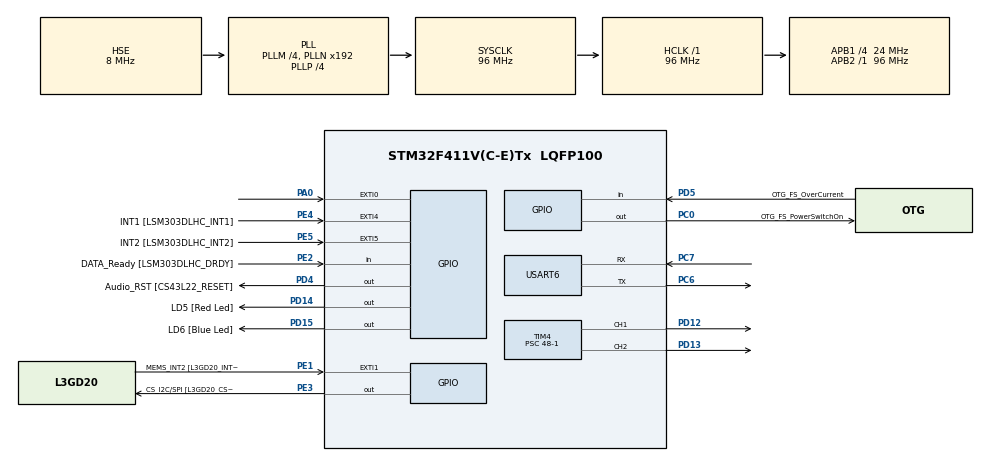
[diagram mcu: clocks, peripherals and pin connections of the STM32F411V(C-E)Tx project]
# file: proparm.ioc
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Dma.Request0=USART6_RX
Dma.USART6_RX.0.Direction=DMA_PERIPH_TO_MEMORY
Dma.USART6_RX.0.FIFOMode=DMA_FIFOMODE_DISABLE
Dma.USART6_RX.0.Instance=DMA2_Stream1
Dma.USART6_RX.0.MemDataAlignment=DMA_MDATAALIGN_BYTE
Dma.USART6_RX.0.MemInc=DMA_MINC_ENABLE
Dma.USART6_RX.0.Mode=DMA_CIRCULAR
Dma.USART6_RX.0.PeriphDataAlignment=DMA_PDATAALIGN_BYTE
Dma.USART6_RX.0.PeriphInc=DMA_PINC_DISABLE
Dma.USART6_RX.0.Priority=DMA_PRIORITY_LOW
Mcu.Family=STM32F4
Mcu.Name=STM32F411V(C-E)Tx
Mcu.Package=LQFP100
NVIC.DMA2_Stream1_IRQn=true\:0\:0\:false\:false\:true\:false\:true\:true
NVIC.PriorityGroup=NVIC_PRIORITYGROUP_0
NVIC.TIM2_IRQn=true\:0\:0\:false\:false\:true\:true\:true\:true
NVIC.USART6_IRQn=true\:0\:0\:false\:false\:true\:true\:true\:true
PA0-WKUP.GPIO_ModeDefaultEXTI=GPIO_MODE_EVT_RISING
PA0-WKUP.Signal=GPXTI0
PA10.GPIO_Label=OTG_FS_ID
PA10.Signal=USB_OTG_FS_ID
PA11.GPIO_Label=OTG_FS_DM
PA11.Signal=USB_OTG_FS_DM
PA12.GPIO_Label=OTG_FS_DP
PA12.Signal=USB_OTG_FS_DP
PA13.GPIO_Label=SWDIO
PA13.Mode=Serial_Wire
PA13.Signal=SYS_JTMS-SWDIO
PA14.GPIO_Label=SWCLK
PA14.Mode=Serial_Wire
PA14.Signal=SYS_JTCK-SWCLK
PA4.GPIO_Label=I2S3_WS [CS43L22_LRCK]
PA4.GPIO_Mode=GPIO_MODE_AF_PP
PA4.GPIO_PuPd=GPIO_NOPULL
PA4.GPIO_Speed=GPIO_SPEED_FREQ_LOW
PA4.Signal=I2S3_WS
PA5.GPIO_Label=SPI1_SCK [L3GD20_SC/SPC]
PA5.Signal=SPI1_SCK
PA6.GPIO_Label=SPI1_MISO [L3GD20_AS0/SDO]
PA6.Signal=SPI1_MISO
PA7.GPIO_Label=SPI1_MOSI [L3GD20_SDA/SDI/SDO]
PA7.Signal=SPI1_MOSI
PA9.GPIO_Label=VBUS_FS
PA9.Signal=USB_OTG_FS_VBUS
PB10.GPIO_Label=CLK_IN [MP45DT02_CLK]
PB10.Signal=I2S2_CK
PB12.Signal=I2S2_WS
PB3.GPIO_Label=SWO
PB3.Signal=SYS_JTDO-SWO
PB6.GPIO_Label=Audio_SCL [CS43L22_SCL]
PB6.GPIO_Mode=GPIO_MODE_AF_OD
PB6.GPIO_Pu=GPIO_PULLUP
PB6.GPIO_PuPd=GPIO_NOPULL
PB6.GPIO_Speed=GPIO_SPEED_FREQ_LOW
PB6.Signal=I2C1_SCL
PB9.GPIO_Label=Audio_SDA [CS43L22_SDA]
PB9.GPIO_Mode=GPIO_MODE_AF_OD
PB9.GPIO_Pu=GPIO_PULLUP
PB9.GPIO_PuPd=GPIO_NOPULL
PB9.GPIO_Speed=GPIO_SPEED_FREQ_LOW
PB9.Signal=I2C1_SDA
PC0.GPIO_Label=OTG_FS_PowerSwitchOn
PC0.PinState=GPIO_PIN_SET
PC0.Signal=GPIO_Output
PC10.GPIO_Label=I2S3_SCK [CS43L22_SCLK]
PC10.GPIO_Mode=GPIO_MODE_AF_PP
PC10.GPIO_PuPd=GPIO_NOPULL
PC10.GPIO_Speed=GPIO_SPEED_FREQ_LOW
PC10.Signal=I2S3_CK
PC12.GPIO_Label=I2S3_SD [CS43L22_SDIN]
PC12.GPIO_Mode=GPIO_MODE_AF_PP
PC12.GPIO_PuPd=GPIO_NOPULL
PC12.GPIO_Speed=GPIO_SPEED_FREQ_LOW
PC12.Signal=I2S3_SD
PC14-OSC32_IN.GPIO_Label=PC14-OSC32_IN
PC14-OSC32_IN.Mode=LSE-External-Oscillator
PC14-OSC32_IN.Signal=RCC_OSC32_IN
PC15-OSC32_OUT.GPIO_Label=PC15-OSC32_OUT
PC15-OSC32_OUT.Mode=LSE-External-Oscillator
PC15-OSC32_OUT.Signal=RCC_OSC32_OUT
PC3.GPIO_Label=PDM_OUT [MP45DT02_DOUT]
PC3.Signal=I2S2_SD
PC6.Mode=Asynchronous
PC6.Signal=USART6_TX
PC7.Mode=Asynchronous
PC7.Signal=USART6_RX
PD12.Signal=S_TIM4_CH1
PD13.Signal=S_TIM4_CH2
PD14.GPIO_Label=LD5 [Red Led]
PD14.GPIO_PuPd=GPIO_NOPULL
PD14.GPIO_Speed=GPIO_SPEED_FREQ_LOW
PD14.Signal=GPIO_Output
PD15.GPIO_Label=LD6 [Blue Led]
PD15.GPIO_PuPd=GPIO_NOPULL
PD15.GPIO_Speed=GPIO_SPEED_FREQ_LOW
PD15.Signal=GPIO_Output
PD4.GPIO_Label=Audio_RST [CS43L22_RESET]
PD4.Signal=GPIO_Output
PD5.GPIO_Label=OTG_FS_OverCurrent
PD5.Signal=GPIO_Input
PE1.GPIO_Label=MEMS_INT2 [L3GD20_INT2]
PE1.GPIO_ModeDefaultEXTI=GPIO_MODE_EVT_RISING
PE1.Signal=GPXTI1
PE2.GPIO_Label=DATA_Ready [LSM303DLHC_DRDY]
PE2.Signal=GPIO_Input
PE3.GPIO_Label=CS_I2C/SPI [L3GD20_CS_I2C/SPI]
PE3.Signal=GPIO_Output
PE4.GPIO_Label=INT1 [LSM303DLHC_INT1]
PE4.GPIO_ModeDefaultEXTI=GPIO_MODE_EVT_RISING
PE4.Signal=GPXTI4
PE5.GPIO_Label=INT2 [LSM303DLHC_INT2]
PE5.GPIO_ModeDefaultEXTI=GPIO_MODE_EVT_RISING
PE5.Signal=GPXTI5
PH0\ -\ OSC_IN.GPIO_Label=PH0-OSC_IN
PH0\ -\ OSC_IN.Mode=HSE-External-Oscillator
PH0\ -\ OSC_IN.Signal=RCC_OSC_IN
PH1\ -\ OSC_OUT.GPIO_Label=PH1-OSC_OUT
PH1\ -\ OSC_OUT.Mode=HSE-External-Oscillator
PH1\ -\ OSC_OUT.Signal=RCC_OSC_OUT
ProjectManager.HeapSize=0x200
ProjectManager.StackSize=0x400
ProjectManager.TargetToolchain=STM32CubeIDE
RCC.48MHZClocksFreq_Value=48000000
RCC.AHBFreq_Value=96000000
RCC.APB1CLKDivider=RCC_HCLK_DIV4
RCC.APB1Freq_Value=24000000
RCC.APB1TimFreq_Value=48000000
RCC.APB2Freq_Value=96000000
RCC.APB2TimFreq_Value=96000000
RCC.CortexFreq_Value=96000000
RCC.HCLKFreq_Value=96000000
RCC.HSE_VALUE=8000000
RCC.HSI_VALUE=16000000
RCC.PLLI2SM=5
RCC.PLLI2SN=200
RCC.PLLM=4
RCC.PLLP=RCC_PLLP_DIV4
RCC.PLLQ=8
RCC.PLLSourceVirtual=RCC_PLLSOURCE_HSE
RCC.SYSCLKFreq_VALUE=96000000
RCC.SYSCLKSource=RCC_SYSCLKSOURCE_PLLCLK
RCC.VCOOutputFreq_Value=384000000
SH.S_TIM4_CH1.0=TIM4_CH1,PWM Generation1 CH1
SH.S_TIM4_CH2.0=TIM4_CH2,PWM Generation2 CH2
STMicroelectronics.X-CUBE-ALGOBUILD.1.4.0.LibraryCcDSPOoLibraryJjDSPOoLibrary=true
TIM2.Period=480-1
TIM2.Prescaler=1000-1
TIM4.Channel-PWM\ Generation1\ CH1=TIM_CHANNEL_1
TIM4.Channel-PWM\ Generation2\ CH2=TIM_CHANNEL_2
TIM4.Period=20000-1
TIM4.Prescaler=48-1
USART6.VirtualMode=VM_ASYNC
VP_STMicroelectronics.X-CUBE-ALGOBUILD_VS_DSPOoLibraryJjLibrary_1.4.0_1.4.0.Mode=DSPOoLibraryJjLibrary
VP_TIM2_VS_ClockSourceINT.Mode=Internal
board=STM32F411E-DISCO

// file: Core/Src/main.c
/* USER CODE BEGIN Header */
/**
 ******************************************************************************
 * @file           : main.c
 * @brief          : Main program body
 ******************************************************************************
 * @attention
 *
 * Copyright (c) 2024 STMicroelectronics.
 * All rights reserved.
 *
 * This software is licensed under terms that can be found in the LICENSE file
 * in the root directory of this software component.
 * If no LICENSE file comes with this software, it is provided AS-IS.
 *
 ******************************************************************************
 */
/* USER CODE END Header */
#include "main.h"

/* USER CODE BEGIN Includes */
#include "Accelerometer.h"
#include "Magnetometer.h"
#include "Gyro.h"
#include "math.h"
#include "stdint.h"
#include "motor.h"
#include "PID.h"
#include "kalman.h"
#include "ilqr.h"
#include "model.h"
#include "DisplayData.h"
#include <stdio.h>
/* USER CODE END Includes */

/* USER CODE BEGIN PD */
#define UART_RX_BUFFER_SIZE 64

#define M_G 9.81
#define RAD_TO_DEG 180 / M_PI
#define DEG_TO_RAD M_PI / 180

#define ARM_BIAS 90

#define PID_KP 1.4f
#define PID_KI 0.4f
#define PID_KD 8.2f

#define PID_TAU 0.02f

#define PID_LIM_MIN -400.0f
#define PID_LIM_MAX 400.0f

#define PID_LIM_MIN_INT -50.0f
#define PID_LIM_MAX_INT 50.0f

#define SAMPLE_TIME_S 0.01f
/* USER CODE END PD */

TIM_HandleTypeDef htim2;
TIM_HandleTypeDef htim4;

UART_HandleTypeDef huart6;
DMA_HandleTypeDef hdma_usart6_rx;

/* USER CODE BEGIN PV */
uint8_t UART_RxBuffer[UART_RX_BUFFER_SIZE] = {0};

enum Controller
{
  Cascade,
  PID,
  LQR
};
enum Filter
{
  Complementary,
  Kalman
};
static enum Controller controller = PID;
static enum Filter filter = Complementary;

static PIDController pid = {PID_KP, PID_KI, PID_KD,
                            PID_TAU,
                            PID_LIM_MIN, PID_LIM_MAX,
                            PID_LIM_MIN_INT, PID_LIM_MAX_INT,
                            SAMPLE_TIME_S};

static LQR_Controller lqr = {};

/* USER CODE END PV */

void SystemClock_Config(void);
static void MX_GPIO_Init(void);
static void MX_DMA_Init(void);
static void MX_TIM4_Init(void);
static void MX_USART6_UART_Init(void);
static void MX_TIM2_Init(void);
/* USER CODE BEGIN PFP */
#define PUTCHAR_PROTOTYPE int __io_putchar(int ch)
/* USER CODE END PFP */

int main(void)
{

  /* MCU Configuration--------------------------------------------------------*/

  /* Reset of all peripherals, Initializes the Flash interface and the Systick. */
  HAL_Init();

  /* Configure the system clock */
  SystemClock_Config();

  /* Initialize all configured peripherals */
  MX_GPIO_Init();
  MX_DMA_Init();
  MX_TIM4_Init();
  MX_USART6_UART_Init();
  MX_TIM2_Init();
  /* USER CODE BEGIN 2 */
  HAL_UARTEx_ReceiveToIdle_DMA(&huart6, UART_RxBuffer, UART_RX_BUFFER_SIZE);
  __HAL_DMA_DISABLE_IT(&hdma_usart6_rx, DMA_IT_HT);

  UartInit();
  GyroInit();
  AccelerometerInit();
  MagnetometerInit();

  PIDController_Init(&pid);
  LQR_init(&lqr);

  if (HAL_TIM_PWM_Start(&htim4, TIM_CHANNEL_1) != HAL_OK)
  {
    Error_Handler();
  }

  if (HAL_TIM_PWM_Start(&htim4, TIM_CHANNEL_2) != HAL_OK)
  {
    Error_Handler();
  }

  l_motor(1000);
  r_motor(1000);
  HAL_Delay(3000);
  l_motor(0);
  r_motor(0);
  HAL_Delay(1000);
  l_motor(100);
  r_motor(100);
  HAL_Delay(1000);

  HAL_TIM_Base_Start_IT(&htim2);

  /* USER CODE END 2 */

  /* Infinite loop */
  while (1)
  {

  }
}

void SystemClock_Config(void)
{
  RCC_OscInitTypeDef RCC_OscInitStruct = {0};
  RCC_ClkInitTypeDef RCC_ClkInitStruct = {0};

  /** Configure the main internal regulator output voltage
   */
  __HAL_RCC_PWR_CLK_ENABLE();
  __HAL_PWR_VOLTAGESCALING_CONFIG(PWR_REGULATOR_VOLTAGE_SCALE1);

  /** Initializes the RCC Oscillators according to the specified parameters
   * in the RCC_OscInitTypeDef structure.
   */
  RCC_OscInitStruct.OscillatorType = RCC_OSCILLATORTYPE_HSE;
  RCC_OscInitStruct.HSEState = RCC_HSE_ON;
  RCC_OscInitStruct.PLL.PLLState = RCC_PLL_ON;
  RCC_OscInitStruct.PLL.PLLSource = RCC_PLLSOURCE_HSE;
  RCC_OscInitStruct.PLL.PLLM = 4;
  RCC_OscInitStruct.PLL.PLLN = 192;
  RCC_OscInitStruct.PLL.PLLP = RCC_PLLP_DIV4;
  RCC_OscInitStruct.PLL.PLLQ = 8;
  if (HAL_RCC_OscConfig(&RCC_OscInitStruct) != HAL_OK)
  {
    Error_Handler();
  }

  /** Initializes the CPU, AHB and APB buses clocks
   */
  RCC_ClkInitStruct.ClockType = RCC_CLOCKTYPE_HCLK | RCC_CLOCKTYPE_SYSCLK | RCC_CLOCKTYPE_PCLK1 | RCC_CLOCKTYPE_PCLK2;
  RCC_ClkInitStruct.SYSCLKSource = RCC_SYSCLKSOURCE_PLLCLK;
  RCC_ClkInitStruct.AHBCLKDivider = RCC_SYSCLK_DIV1;
  RCC_ClkInitStruct.APB1CLKDivider = RCC_HCLK_DIV4;
  RCC_ClkInitStruct.APB2CLKDivider = RCC_HCLK_DIV1;

  if (HAL_RCC_ClockConfig(&RCC_ClkInitStruct, FLASH_LATENCY_3) != HAL_OK)
  {
    Error_Handler();
  }
}

static void MX_TIM2_Init(void)
{

  TIM_ClockConfigTypeDef sClockSourceConfig = {0};
  TIM_MasterConfigTypeDef sMasterConfig = {0};

  htim2.Instance = TIM2;
  htim2.Init.Prescaler = 1000 - 1;
  htim2.Init.CounterMode = TIM_COUNTERMODE_UP;
  htim2.Init.Period = 480 - 1;
  htim2.Init.ClockDivision = TIM_CLOCKDIVISION_DIV1;
  htim2.Init.AutoReloadPreload = TIM_AUTORELOAD_PRELOAD_DISABLE;
  if (HAL_TIM_Base_Init(&htim2) != HAL_OK)
  {
    Error_Handler();
  }
  sClockSourceConfig.ClockSource = TIM_CLOCKSOURCE_INTERNAL;
  if (HAL_TIM_ConfigClockSource(&htim2, &sClockSourceConfig) != HAL_OK)
  {
    Error_Handler();
  }
  sMasterConfig.MasterOutputTrigger = TIM_TRGO_RESET;
  sMasterConfig.MasterSlaveMode = TIM_MASTERSLAVEMODE_DISABLE;
  if (HAL_TIMEx_MasterConfigSynchronization(&htim2, &sMasterConfig) != HAL_OK)
  {
    Error_Handler();
  }
}

static void MX_TIM4_Init(void)
{

  TIM_MasterConfigTypeDef sMasterConfig = {0};
  TIM_OC_InitTypeDef sConfigOC = {0};

  htim4.Instance = TIM4;
  htim4.Init.Prescaler = 48 - 1;
  htim4.Init.CounterMode = TIM_COUNTERMODE_UP;
  htim4.Init.Period = 20000 - 1;
  htim4.Init.ClockDivision = TIM_CLOCKDIVISION_DIV1;
  htim4.Init.AutoReloadPreload = TIM_AUTORELOAD_PRELOAD_DISABLE;
  if (HAL_TIM_PWM_Init(&htim4) != HAL_OK)
  {
    Error_Handler();
  }
  sMasterConfig.MasterOutputTrigger = TIM_TRGO_RESET;
  sMasterConfig.MasterSlaveMode = TIM_MASTERSLAVEMODE_DISABLE;
  if (HAL_TIMEx_MasterConfigSynchronization(&htim4, &sMasterConfig) != HAL_OK)
  {
    Error_Handler();
  }
  sConfigOC.OCMode = TIM_OCMODE_PWM1;
  sConfigOC.Pulse = 0;
  sConfigOC.OCPolarity = TIM_OCPOLARITY_HIGH;
  sConfigOC.OCFastMode = TIM_OCFAST_DISABLE;
  if (HAL_TIM_PWM_ConfigChannel(&htim4, &sConfigOC, TIM_CHANNEL_1) != HAL_OK)
  {
    Error_Handler();
  }
  if (HAL_TIM_PWM_ConfigChannel(&htim4, &sConfigOC, TIM_CHANNEL_2) != HAL_OK)
  {
    Error_Handler();
  }
  HAL_TIM_MspPostInit(&htim4);
}

static void MX_USART6_UART_Init(void)
{

  huart6.Instance = USART6;
  huart6.Init.BaudRate = 115200;
  huart6.Init.WordLength = UART_WORDLENGTH_8B;
  huart6.Init.StopBits = UART_STOPBITS_1;
  huart6.Init.Parity = UART_PARITY_NONE;
  huart6.Init.Mode = UART_MODE_TX_RX;
  huart6.Init.HwFlowCtl = UART_HWCONTROL_NONE;
  huart6.Init.OverSampling = UART_OVERSAMPLING_16;
  if (HAL_UART_Init(&huart6) != HAL_OK)
  {
    Error_Handler();
  }
}

static void MX_DMA_Init(void)
{

  /* DMA controller clock enable */
  __HAL_RCC_DMA2_CLK_ENABLE();

  /* DMA interrupt init */
  /* DMA2_Stream1_IRQn interrupt configuration */
  HAL_NVIC_SetPriority(DMA2_Stream1_IRQn, 0, 0);
  HAL_NVIC_EnableIRQ(DMA2_Stream1_IRQn);
}

static void MX_GPIO_Init(void)
{
  GPIO_InitTypeDef GPIO_InitStruct = {0};

  /* GPIO Ports Clock Enable */
  __HAL_RCC_GPIOE_CLK_ENABLE();
  __HAL_RCC_GPIOC_CLK_ENABLE();
  __HAL_RCC_GPIOH_CLK_ENABLE();
  __HAL_RCC_GPIOA_CLK_ENABLE();
  __HAL_RCC_GPIOB_CLK_ENABLE();
  __HAL_RCC_GPIOD_CLK_ENABLE();

  /*Configure GPIO pin Output Level */
  HAL_GPIO_WritePin(CS_I2C_SPI_GPIO_Port, CS_I2C_SPI_Pin, GPIO_PIN_RESET);

  /*Configure GPIO pin Output Level */
  HAL_GPIO_WritePin(OTG_FS_PowerSwitchOn_GPIO_Port, OTG_FS_PowerSwitchOn_Pin, GPIO_PIN_SET);

  /*Configure GPIO pin Output Level */
  HAL_GPIO_WritePin(GPIOD, LD5_Pin | LD6_Pin | Audio_RST_Pin, GPIO_PIN_RESET);

  /*Configure GPIO pin : DATA_Ready_Pin */
  GPIO_InitStruct.Pin = DATA_Ready_Pin;
  GPIO_InitStruct.Mode = GPIO_MODE_INPUT;
  GPIO_InitStruct.Pull = GPIO_NOPULL;
  HAL_GPIO_Init(DATA_Ready_GPIO_Port, &GPIO_InitStruct);

  /*Configure GPIO pin : CS_I2C_SPI_Pin */
  GPIO_InitStruct.Pin = CS_I2C_SPI_Pin;
  GPIO_InitStruct.Mode = GPIO_MODE_OUTPUT_PP;
  GPIO_InitStruct.Pull = GPIO_NOPULL;
  GPIO_InitStruct.Speed = GPIO_SPEED_FREQ_LOW;
  HAL_GPIO_Init(CS_I2C_SPI_GPIO_Port, &GPIO_InitStruct);

  /*Configure GPIO pins : INT1_Pin INT2_Pin MEMS_INT2_Pin */
  GPIO_InitStruct.Pin = INT1_Pin | INT2_Pin | MEMS_INT2_Pin;
  GPIO_InitStruct.Mode = GPIO_MODE_EVT_RISING;
  GPIO_InitStruct.Pull = GPIO_NOPULL;
  HAL_GPIO_Init(GPIOE, &GPIO_InitStruct);

  /*Configure GPIO pin : OTG_FS_PowerSwitchOn_Pin */
  GPIO_InitStruct.Pin = OTG_FS_PowerSwitchOn_Pin;
  GPIO_InitStruct.Mode = GPIO_MODE_OUTPUT_PP;
  GPIO_InitStruct.Pull = GPIO_NOPULL;
  GPIO_InitStruct.Speed = GPIO_SPEED_FREQ_LOW;
  HAL_GPIO_Init(OTG_FS_PowerSwitchOn_GPIO_Port, &GPIO_InitStruct);

  /*Configure GPIO pin : PDM_OUT_Pin */
  GPIO_InitStruct.Pin = PDM_OUT_Pin;
  GPIO_InitStruct.Mode = GPIO_MODE_AF_PP;
  GPIO_InitStruct.Pull = GPIO_NOPULL;
  GPIO_InitStruct.Speed = GPIO_SPEED_FREQ_LOW;
  GPIO_InitStruct.Alternate = GPIO_AF5_SPI2;
  HAL_GPIO_Init(PDM_OUT_GPIO_Port, &GPIO_InitStruct);

  /*Configure GPIO pin : PA0 */
  GPIO_InitStruct.Pin = GPIO_PIN_0;
  GPIO_InitStruct.Mode = GPIO_MODE_EVT_RISING;
  GPIO_InitStruct.Pull = GPIO_NOPULL;
  HAL_GPIO_Init(GPIOA, &GPIO_InitStruct);

  /*Configure GPIO pin : I2S3_WS_Pin */
  GPIO_InitStruct.Pin = I2S3_WS_Pin;
  GPIO_InitStruct.Mode = GPIO_MODE_AF_PP;
  GPIO_InitStruct.Pull = GPIO_NOPULL;
  GPIO_InitStruct.Speed = GPIO_SPEED_FREQ_LOW;
  GPIO_InitStruct.Alternate = GPIO_AF6_SPI3;
  HAL_GPIO_Init(I2S3_WS_GPIO_Port, &GPIO_InitStruct);

  /*Configure GPIO pins : SPI1_SCK_Pin SPI1_MISO_Pin SPI1_MOSI_Pin */
  GPIO_InitStruct.Pin = SPI1_SCK_Pin | SPI1_MISO_Pin | SPI1_MOSI_Pin;
  GPIO_InitStruct.Mode = GPIO_MODE_AF_PP;
  GPIO_InitStruct.Pull = GPIO_NOPULL;
  GPIO_InitStruct.Speed = GPIO_SPEED_FREQ_VERY_HIGH;
  GPIO_InitStruct.Alternate = GPIO_AF5_SPI1;
  HAL_GPIO_Init(GPIOA, &GPIO_InitStruct);

  /*Configure GPIO pins : CLK_IN_Pin PB12 */
  GPIO_InitStruct.Pin = CLK_IN_Pin | GPIO_PIN_12;
  GPIO_InitStruct.Mode = GPIO_MODE_AF_PP;
  GPIO_InitStruct.Pull = GPIO_NOPULL;
  GPIO_InitStruct.Speed = GPIO_SPEED_FREQ_LOW;
  GPIO_InitStruct.Alternate = GPIO_AF5_SPI2;
  HAL_GPIO_Init(GPIOB, &GPIO_InitStruct);

  /*Configure GPIO pins : LD5_Pin LD6_Pin Audio_RST_Pin */
  GPIO_InitStruct.Pin = LD5_Pin | LD6_Pin | Audio_RST_Pin;
  GPIO_InitStruct.Mode = GPIO_MODE_OUTPUT_PP;
  GPIO_InitStruct.Pull = GPIO_NOPULL;
  GPIO_InitStruct.Speed = GPIO_SPEED_FREQ_LOW;
  HAL_GPIO_Init(GPIOD, &GPIO_InitStruct);

  /*Configure GPIO pin : VBUS_FS_Pin */
  GPIO_InitStruct.Pin = VBUS_FS_Pin;
  GPIO_InitStruct.Mode = GPIO_MODE_INPUT;
  GPIO_InitStruct.Pull = GPIO_NOPULL;
  HAL_GPIO_Init(VBUS_FS_GPIO_Port, &GPIO_InitStruct);

  /*Configure GPIO pins : OTG_FS_ID_Pin OTG_FS_DM_Pin OTG_FS_DP_Pin */
  GPIO_InitStruct.Pin = OTG_FS_ID_Pin | OTG_FS_DM_Pin | OTG_FS_DP_Pin;
  GPIO_InitStruct.Mode = GPIO_MODE_AF_PP;
  GPIO_InitStruct.Pull = GPIO_NOPULL;
  GPIO_InitStruct.Speed = GPIO_SPEED_FREQ_VERY_HIGH;
  GPIO_InitStruct.Alternate = GPIO_AF10_OTG_FS;
  HAL_GPIO_Init(GPIOA, &GPIO_InitStruct);

  /*Configure GPIO pins : I2S3_SCK_Pin I2S3_SD_Pin */
  GPIO_InitStruct.Pin = I2S3_SCK_Pin | I2S3_SD_Pin;
  GPIO_InitStruct.Mode = GPIO_MODE_AF_PP;
  GPIO_InitStruct.Pull = GPIO_NOPULL;
  GPIO_InitStruct.Speed = GPIO_SPEED_FREQ_LOW;
  GPIO_InitStruct.Alternate = GPIO_AF6_SPI3;
  HAL_GPIO_Init(GPIOC, &GPIO_InitStruct);

  /*Configure GPIO pin : OTG_FS_OverCurrent_Pin */
  GPIO_InitStruct.Pin = OTG_FS_OverCurrent_Pin;
  GPIO_InitStruct.Mode = GPIO_MODE_INPUT;
  GPIO_InitStruct.Pull = GPIO_NOPULL;
  HAL_GPIO_Init(OTG_FS_OverCurrent_GPIO_Port, &GPIO_InitStruct);

  /*Configure GPIO pins : Audio_SCL_Pin Audio_SDA_Pin */
  GPIO_InitStruct.Pin = Audio_SCL_Pin | Audio_SDA_Pin;
  GPIO_InitStruct.Mode = GPIO_MODE_AF_OD;
  GPIO_InitStruct.Pull = GPIO_PULLUP;
  GPIO_InitStruct.Speed = GPIO_SPEED_FREQ_LOW;
  GPIO_InitStruct.Alternate = GPIO_AF4_I2C1;
  HAL_GPIO_Init(GPIOB, &GPIO_InitStruct);

}

/* USER CODE BEGIN 4 */
/**
 * @brief  Retargets the C library printf function to the USART.
 *   None
 * @retval None
 */
PUTCHAR_PROTOTYPE
{
  /* Place your implementation of fputc here */
  /* e.g. write a character to the USART1 and Loop until the end of transmission */
  HAL_UART_Transmit(&huart6, (uint8_t *)&ch, 1, 0xFFFF);

  // HAL_UART_Transmit_DMA(&huart6, TxData, 10240);

  return ch;
}

void HAL_TIM_PeriodElapsedCallback(TIM_HandleTypeDef *htim)
{
  static float setpoint = 0.0f;
  static float theta = 0.0f;
  static float dF = 0;

  // Get acceleromer, gyrometer and magnetometer values
  short aX, aY, aZ, p, q, r;
  GetAccelerometerValues(&aX, &aY, &aZ);
  GetGyroValues(&p, &q, &r);

  // Conversion to radians, also remove gyro bias
  float qf = q * DEG_TO_RAD + 0.04;

  // Clamping
  float t = aX / 16384.;
  t = t > 1 ? 1 : t;
  t = t < -1 ? -1 : t;

  // Compute angle using accelerometer
  float theta_acc = atan2(aX, sqrt(aY * aY + aZ * aZ));

  // Compute angle using gyrometer
  float theta_gyro = theta + qf * SAMPLE_TIME_S;

  switch (filter)
  {
  case Kalman:
    float32_t y_data[] = {
        theta_acc, qf};
    float32_t u_data[] = {
        qf, dF};
    theta = kalman_filter(y_data, u_data);
    break;

  default:
    // Complementary filter
    const float alpha = 0.99;
    theta = theta_gyro * alpha + theta_acc * (1 - alpha);
    break;
  }

  const float measurement = theta * RAD_TO_DEG;

  switch (controller)
  {
  case Cascade:
    float a = 1;
    float b = 2.8;
    dF = ((measurement - setpoint) * a + qf) * b * J / L * 10;
    break;

  case LQR:
    // float state[NUMBER_STATES] = {0};
    // out = LQR_update(&lqr, state, );

    /*float32_t K_data[4] = {
            0.7063, 1.0978,
            -0.7063, -1.0978};*/

    float32_t K_data[2] = {
        1.4, 8.2};
    arm_matrix_instance_f32 K;
    arm_mat_init_f32(&K, 1, 2, K_data);

    float32_t S_data[2] = {
        measurement,
        qf};
    arm_matrix_instance_f32 S;
    arm_mat_init_f32(&S, 2, 1, S_data);

    /*float32_t R_data[2];
    arm_matrix_instance_f32 R;
    arm_mat_init_f32(&R, 2, 1, R_data);
    arm_mat_mult_f32(&K, &S, &R);*/

    float32_t R_data[1];
    arm_matrix_instance_f32 R;
    arm_mat_init_f32(&R, 1, 1, R_data);
    arm_mat_mult_f32(&K, &S, &R);

    dF = R_data[0] * 10;
    printf("%f\r\n", dF);

    break;

  default:
    dF = -PIDController_Update(&pid, setpoint, measurement);
    break;
  }

  static int pt = 0;
  if (pt == 10)
  {
    // printf("%f %f\r\n", measurement, dF);
    printf("%f\n", measurement);
    pt = 0;
  }
  ++pt;

  const int base_throatle = 100;
  if (dF < 0)
  {
    l_motor(base_throatle + ARM_BIAS - dF);
    r_motor(base_throatle);
  }
  else
  {
    l_motor(base_throatle + ARM_BIAS);
    r_motor(base_throatle + dF);
  }
}

void HAL_UARTEx_RxEventCallback(UART_HandleTypeDef *huart, uint16_t Size)
{
  // printf("YO!%d", Size);
  HAL_UARTEx_ReceiveToIdle_DMA(&huart6, UART_RxBuffer, UART_RX_BUFFER_SIZE);
  __HAL_DMA_DISABLE_IT(&hdma_usart6_rx, DMA_IT_HT);

  switch (UART_RxBuffer[0])
  {
  case 'C':
    controller = Cascade;
    break;
  case 'P':
    controller = PID;
    break;
  case 'L':
    controller = LQR;
    break;

  case 'K':
    controller = Kalman;
    break;
  case 'k':
    controller = Complementary;
    break;

  default:
    char parameter;
    float value;
    sscanf(UART_RxBuffer, "%c:%f", &parameter, &value);

    switch (parameter)
    {
    case 'p':
      pid.Kp = value;
      break;
    case 'i':
      pid.Ki = value;
      break;
    case 'd':
      pid.Kd = value;
      break;

    default:
      break;
    }
    break;
  }

  memset(UART_RxBuffer, 0, sizeof(UART_RxBuffer));
}

void HAL_UART_TxCpltCallback(UART_HandleTypeDef *huart)
{
}
/* USER CODE END 4 */

void Error_Handler(void)
{
  __disable_irq();
  while (1)
  {
  }
}
